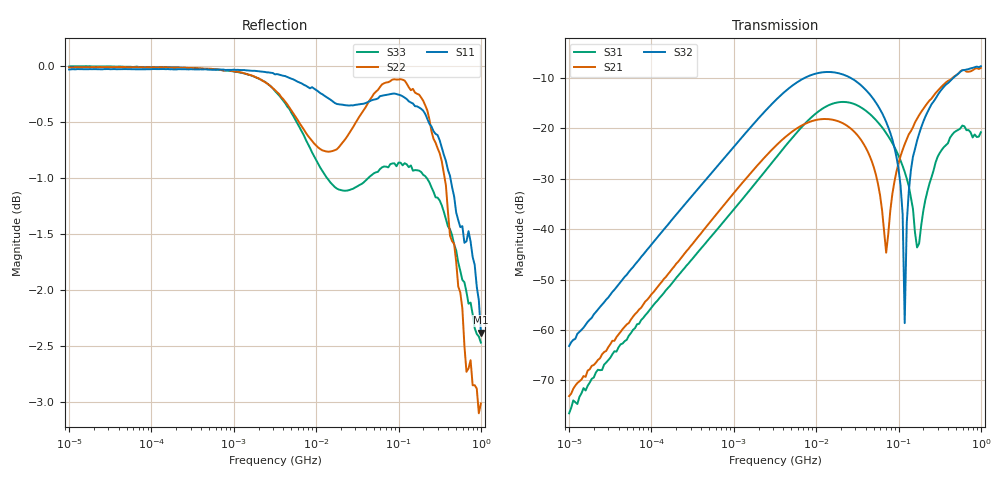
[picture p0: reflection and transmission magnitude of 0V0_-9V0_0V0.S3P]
!Keysight Technologies,E5080A,MY55100144,A.11.70.03
!Date: Monday, November 13, 2017 17:22:29
!Correction: S11(Full 3 Port(1,2,3))
!S12(Full 3 Port(1,2,3))
!S13(Full 3 Port(1,2,3))
!S21(Full 3 Port(1,2,3))
!S22(Full 3 Port(1,2,3))
!S23(Full 3 Port(1,2,3))
!S31(Full 3 Port(1,2,3))
!S32(Full 3 Port(1,2,3))
!S33(Full 3 Port(1,2,3))
!S3P File: Measurements: <S11,S12,S13>,
!<S21,S22,S23>,
!<S31,S32,S33>:Log Frequency Sweep
# Hz S  RI  R 50
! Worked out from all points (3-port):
!   201 points, 10 kHz to 1 GHz, reference 50 ohm
!   strongest paths, dB at 10 kHz, 177.8 kHz, 3.162 MHz, 56.23 MHz, 1 GHz:
!     S32: -63.2, -38.1, -14.5, -15.5, -7.7
!     S21: -73.1, -47.9, -23.6, -31.0, -8.0
!     S31: -76.5, -50.7, -26.1, -18.8, -20.8
!   lowest |S11| = -2.4 dB at 1 GHz (marker M1), VSWR 7.35, Z = 367 + j12.7 ohm
!   |S11| at or under -10 dB: nowhere
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10000  0.9967 -0.00142  1.39e-05 0.000227  3.95e-06 0.000188
       2.11e-05 0.000219  0.9989 -0.00354  -1.09e-06 0.000693
       -2.07e-06 0.000149  -1.39e-05 0.000692  0.9998 -0.00254
3162278  0.9019 -0.4123  0.0341 0.0564  0.0123 0.0482
         0.034 0.0563  0.6727 -0.7069  0.099 0.1591
         0.0123 0.0482  0.0992 0.1591  0.935 -0.276
5.956621e7  -0.9206 -0.3049  0.0125 -0.0178  0.0538 -0.0943
            0.0125 -0.018  -0.9785 -0.0282  0.0546 -0.1446
            0.0537 -0.0943  0.0546 -0.1446  -0.6875 -0.5805
7.079458e7  -0.9505 -0.1987  0.00583 0.000829  0.0327 -0.0836
            0.00579 0.00081  -0.9809 0.071  0.0264 -0.1127
            0.0327 -0.0835  0.0265 -0.1126  -0.7726 -0.4654
1.059254e8  -0.9698 0.0408  0.0107 0.052  0.00423 -0.0476
            0.0108 0.0521  -0.9368 0.3105  -0.00145 -0.0269
            0.0042 -0.0476  -0.00147 -0.0268  -0.8866 -0.1851
1.188502e8  -0.9619 0.1113  0.0183 0.067  0.00117 -0.037
            0.0184 0.0671  -0.9073 0.3843  0.000196 -0.00117
            0.00114 -0.0369  0.000187 -0.00115  -0.8992 -0.1036
1.333521e8  -0.947 0.1835  0.0296 0.0822  -0.000522 -0.0266
            0.0297 0.0822  -0.866 0.4557  0.00619 0.0231
            -0.000497 -0.0267  0.00623 0.0231  -0.9012 -0.0212
1.678804e8  -0.902 0.3276  0.0597 0.109  0.0044 -0.00496
            0.0598 0.109  -0.7632 0.6021  0.0335 0.0678
            0.00441 -0.00489  0.0335 0.0677  -0.887 0.1439
5.308844e8  0.00544 0.8537  0.3254 -0.1256  0.0708 -0.0655
            0.3254 -0.1258  0.5022 0.6195  0.3334 -0.1001
            0.0708 -0.0656  0.3333 -0.1  -0.1354 0.8062
1e9  0.7605 0.00726  -0.0931 -0.3866  -0.0564 -0.072
     -0.0936 -0.3866  0.5909 -0.3883  -0.0449 -0.4112
     -0.0565 -0.0719  -0.0446 -0.4113  0.6861 0.3096
